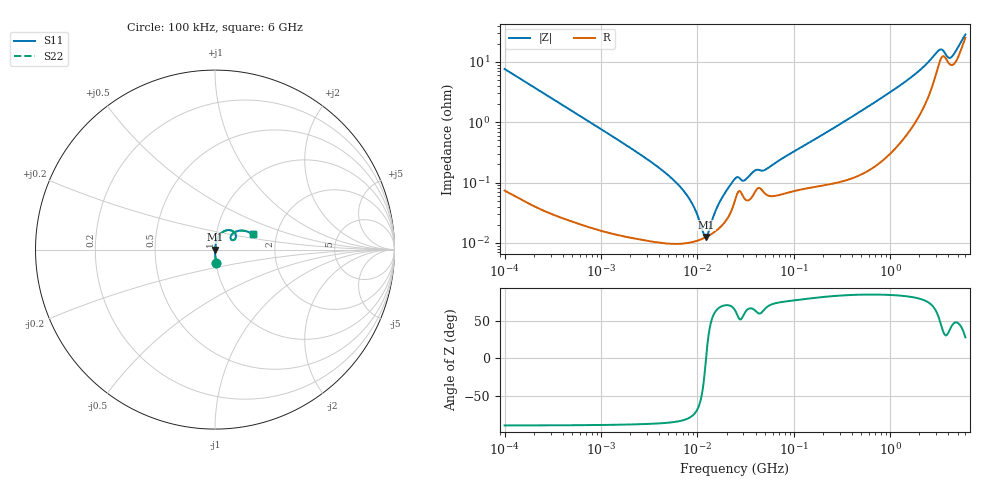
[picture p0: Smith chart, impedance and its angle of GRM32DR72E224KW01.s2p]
!Murata Part Number: GRM32DR72E224KW01
!These Parameters are Measured in Series Mode Connection
!Data Generated on Mar 30, 2021
!  o--ll--o
!Port1  Port2
!  o------o
!Operation Temp=25[degC], DC Bias Voltage=0[V]
!Freq. Start=100[kHz] Stop=6[GHz] 401[Steps]
# Hz S RI R 50
!Freq.(Hz) S11(Real) S11(Imag) S21(Real) S21(Imag) S12(Real) S12(Imag) S22(Real) S22(Imag)
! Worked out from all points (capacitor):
!   401 points, 100 kHz to 6 GHz, reference 50 ohm
!   read as one part in series: C = 208 nF near 105.7 kHz
!   lowest |Z| = 12.6 mohm at 12.32 MHz (marker M1)
!   series resonance near 12.27 MHz, so ESL is about 810 pH
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100000  0.00652 -0.0758  0.9935 0.0758  0.9935 0.0758  0.00652 -0.0758
631452  0.000348 -0.0122  0.9997 0.0122  0.9997 0.0122  0.000348 -0.0122
3987316  0.000105 -0.00176  0.9999 0.00176  0.9999 0.00176  0.000105 -0.00176
5860248  9.76e-05 -0.00104  0.9999 0.00104  0.9999 0.00104  9.76e-05 -0.00104
7715601  9.97e-05 -0.000621  0.9999 0.000621  0.9999 0.000621  9.97e-05 -0.000621
9353785  0.000106 -0.000356  0.9999 0.000356  0.9999 0.000356  0.000106 -0.000356
1.165602e7  0.00012 -6.7e-05  0.9999 6.7e-05  0.9999 6.7e-05  0.00012 -6.7e-05
1.231519e7  0.000125 4.8e-06  0.9999 -4.8e-06  0.9999 -4.8e-06  0.000125 4.8e-06
1.301164e7  0.000131 7.69e-05  0.9999 -7.69e-05  0.9999 -7.69e-05  0.000131 7.69e-05
1.713112e7  0.000181 0.000455  0.9998 -0.000455  0.9998 -0.000455  0.000181 0.000455
2.517799e7  0.000583 0.00106  0.9994 -0.00106  0.9994 -0.00106  0.000583 0.00106
3.05238e7  0.000552 0.000931  0.9994 -0.000931  0.9994 -0.000931  0.000552 0.000931
3.909733e7  0.000682 0.00142  0.9993 -0.00142  0.9993 -0.00142  0.000682 0.00142
5.147553e7  0.00064 0.00154  0.9994 -0.00154  0.9994 -0.00154  0.00064 0.00154
1.546735e8  0.000857 0.00484  0.9991 -0.00484  0.9991 -0.00484  0.000857 0.00484
9.76689e8  0.00385 0.0305  0.9962 -0.0305  0.9962 -0.0305  0.00385 0.0305
1.889928e9  0.0151 0.0639  0.9849 -0.0639  0.9849 -0.0639  0.0151 0.0639
3.100717e9  0.0862 0.1079  0.9138 -0.1079  0.9138 -0.1079  0.0862 0.1079
3.367428e9  0.1129 0.0893  0.8871 -0.0893  0.8871 -0.0893  0.1129 0.0893
3.971646e9  0.093 0.0541  0.907 -0.0541  0.907 -0.0541  0.093 0.0541
4.313271e9  0.0866 0.0691  0.9134 -0.0691  0.9134 -0.0691  0.0866 0.0691
6e9  0.2099 0.0845  0.7901 -0.0845  0.7901 -0.0845  0.2099 0.0845
